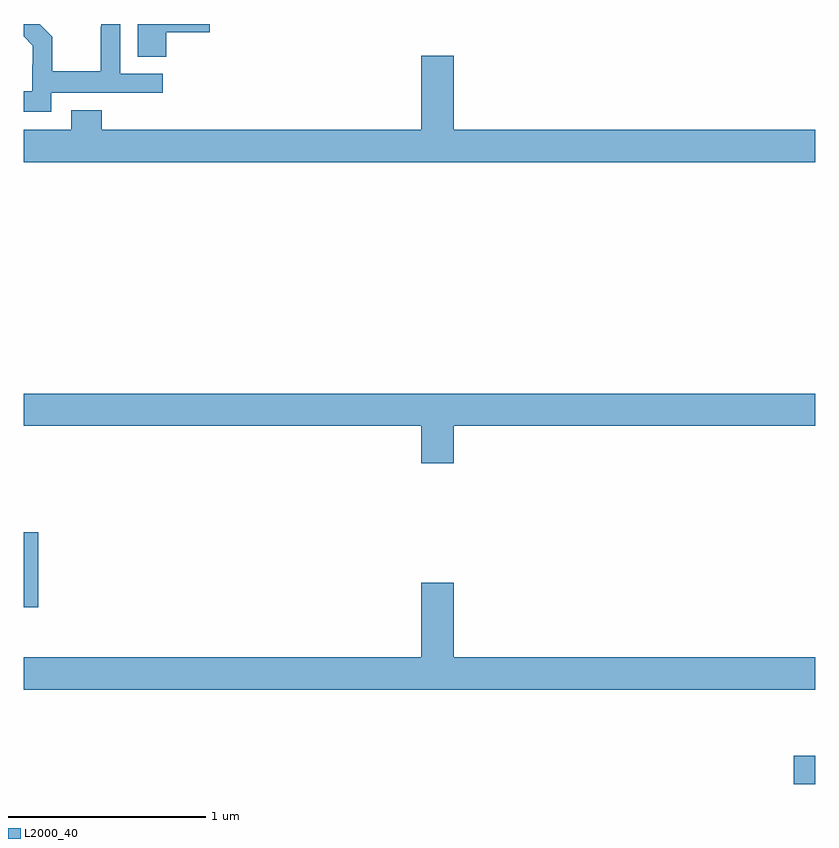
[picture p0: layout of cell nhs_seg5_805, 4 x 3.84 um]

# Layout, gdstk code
import gdstk
lib = gdstk.Library(unit=1e-6, precision=1e-09)
def R(c, l, rs):  # rectangles x0, y0, x1, y1
    for r in rs: c.add(gdstk.rectangle(r[:2], r[2:], *l))
def P(c, l, *ps):  # polygons
    for p in ps: c.add(gdstk.Polygon(p, *l))
L2000_40 = (2000, 40)

nhs_seg5_805 = lib.new_cell('nhs_seg5_805')
R(nhs_seg5_805, L2000_40, [(166.89,846.959,167,847.101), (163,847.851,163.073,848.232)])
P(nhs_seg5_805, L2000_40, [(163.14,850.452),(163.702,850.452),(163.702,850.548),(163.488,850.548),(163.488,850.799),(163.392,850.799),(163.392,850.784),(163.39,850.784),(163.39,850.561),(163.145,850.561),(163.145,850.735),(163.081,850.799),(163,850.799),(163,850.736),(163.046,850.69),(163.046,850.593),(163.044,850.593),(163.044,850.459),(163,850.459),(163,850.355),(163.14,850.355)],
  [(163.721,850.757),(163.939,850.757),(163.939,850.799),(163.577,850.799),(163.577,850.633),(163.721,850.633)],
  [(167,850.264),(165.172,850.264),(165.172,850.639),(165.008,850.639),(165.008,850.264),(163.394,850.264),(163.394,850.363),(163.241,850.363),(163.241,850.264),(163,850.264),(163,850.1),(167,850.1)],
  [(165.172,848.768),(167,848.768),(167,848.932),(163,848.932),(163,848.768),(165.008,848.768),(165.008,848.58),(165.172,848.58)],
  [(167,847.6),(165.172,847.6),(165.172,847.975),(165.008,847.975),(165.008,847.6),(163,847.6),(163,847.436),(167,847.436)])

lib.write_gds('nhs_seg5_805.gds')
